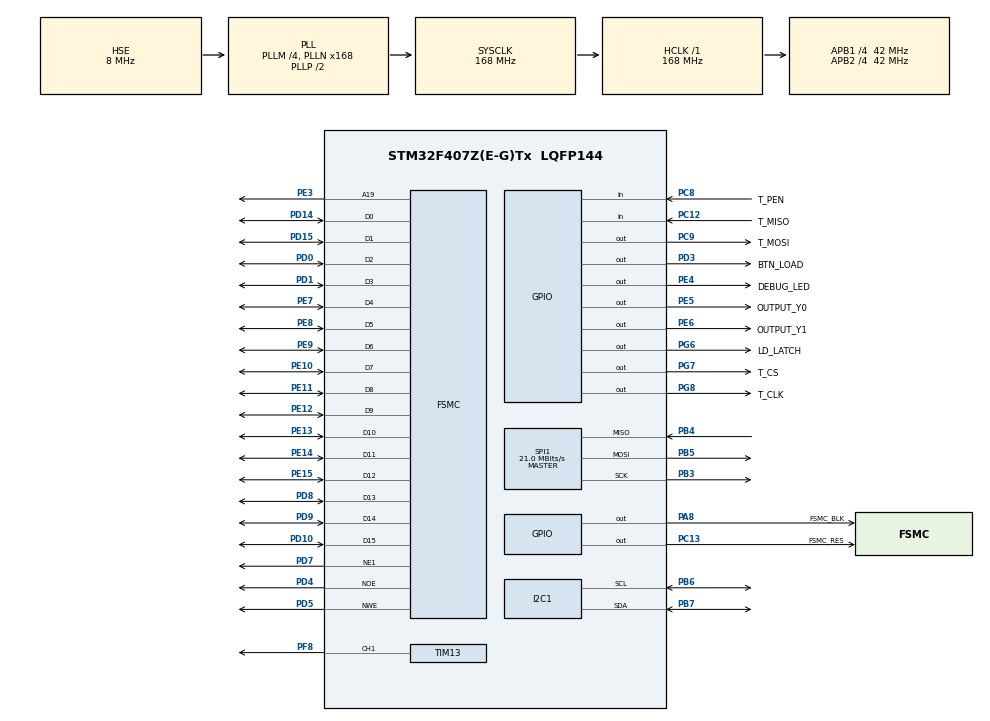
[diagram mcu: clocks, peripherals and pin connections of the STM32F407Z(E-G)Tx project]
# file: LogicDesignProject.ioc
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FSMC.AddressSetupTime1=0xf
FSMC.BusTurnAroundDuration1=0
FSMC.DataSetupTime1=60
FSMC.ExtendedAddressSetupTime1=9
FSMC.ExtendedBusTurnAroundDuration1=0
FSMC.ExtendedDataSetupTime1=8
FSMC.ExtendedMode1=FSMC_EXTENDED_MODE_ENABLE
Mcu.Family=STM32F4
Mcu.Name=STM32F407Z(E-G)Tx
Mcu.Package=LQFP144
NVIC.PriorityGroup=NVIC_PRIORITYGROUP_4
NVIC.TIM2_IRQn=true\:0\:0\:false\:false\:true\:true\:true\:true
NVIC.TIM4_IRQn=true\:0\:0\:false\:false\:true\:true\:true\:true
NVIC.TIM8_UP_TIM13_IRQn=true\:0\:0\:false\:false\:true\:true\:true\:true
PA13.Mode=Serial_Wire
PA13.Signal=SYS_JTMS-SWDIO
PA14.Mode=Serial_Wire
PA14.Signal=SYS_JTCK-SWCLK
PA8.GPIO_Label=FSMC_BLK
PA8.Signal=GPIO_Output
PB3.Mode=Full_Duplex_Master
PB3.Signal=SPI1_SCK
PB4.Mode=Full_Duplex_Master
PB4.Signal=SPI1_MISO
PB5.Mode=Full_Duplex_Master
PB5.Signal=SPI1_MOSI
PB6.Mode=I2C
PB6.Signal=I2C1_SCL
PB7.Mode=I2C
PB7.Signal=I2C1_SDA
PC12.GPIO_Label=T_MISO
PC12.GPIO_PuPd=GPIO_PULLUP
PC12.Signal=GPIO_Input
PC13-ANTI_TAMP.GPIO_Label=FSMC_RES
PC13-ANTI_TAMP.Signal=GPIO_Output
PC8.GPIO_Label=T_PEN
PC8.GPIO_PuPd=GPIO_PULLUP
PC8.Signal=GPIO_Input
PC9.GPIO_Label=T_MOSI
PC9.Signal=GPIO_Output
PD0.Signal=FSMC_D2_DA2
PD1.Signal=FSMC_D3_DA3
PD10.Signal=FSMC_D15_DA15
PD14.Signal=FSMC_D0_DA0
PD15.Signal=FSMC_D1_DA1
PD3.GPIO_Label=BTN_LOAD
PD3.Signal=GPIO_Output
PD4.Signal=FSMC_NOE
PD5.Signal=FSMC_NWE
PD7.Mode=NorPsramChipSelect1_1
PD7.Signal=FSMC_NE1
PD8.Signal=FSMC_D13_DA13
PD9.Signal=FSMC_D14_DA14
PE10.Signal=FSMC_D7_DA7
PE11.Signal=FSMC_D8_DA8
PE12.Signal=FSMC_D9_DA9
PE13.Signal=FSMC_D10_DA10
PE14.Signal=FSMC_D11_DA11
PE15.Signal=FSMC_D12_DA12
PE3.Signal=FSMC_A19
PE4.GPIO_Label=DEBUG_LED
PE4.Signal=GPIO_Output
PE5.GPIO_Label=OUTPUT_Y0
PE5.Signal=GPIO_Output
PE6.GPIO_Label=OUTPUT_Y1
PE6.Signal=GPIO_Output
PE7.Signal=FSMC_D4_DA4
PE8.Signal=FSMC_D5_DA5
PE9.Signal=FSMC_D6_DA6
PF8.Signal=S_TIM13_CH1
PG6.GPIO_Label=LD_LATCH
PG6.Signal=GPIO_Output
PG7.GPIO_Label=T_CS
PG7.Signal=GPIO_Output
PG8.GPIO_Label=T_CLK
PG8.Signal=GPIO_Output
PH0-OSC_IN.Mode=HSE-External-Oscillator
PH0-OSC_IN.Signal=RCC_OSC_IN
PH1-OSC_OUT.Mode=HSE-External-Oscillator
PH1-OSC_OUT.Signal=RCC_OSC_OUT
ProjectManager.HeapSize=0x200
ProjectManager.StackSize=0x400
ProjectManager.TargetToolchain=STM32CubeIDE
RCC.48MHZClocksFreq_Value=84000000
RCC.AHBFreq_Value=168000000
RCC.APB1CLKDivider=RCC_HCLK_DIV4
RCC.APB1Freq_Value=42000000
RCC.APB1TimFreq_Value=84000000
RCC.APB2CLKDivider=RCC_HCLK_DIV4
RCC.APB2Freq_Value=42000000
RCC.APB2TimFreq_Value=84000000
RCC.CortexFreq_Value=168000000
RCC.HCLKFreq_Value=168000000
RCC.HSE_VALUE=8000000
RCC.HSI_VALUE=16000000
RCC.LSE_VALUE=32768
RCC.PLLM=4
RCC.PLLN=168
RCC.PLLSourceVirtual=RCC_PLLSOURCE_HSE
RCC.SYSCLKFreq_VALUE=168000000
RCC.SYSCLKSource=RCC_SYSCLKSOURCE_PLLCLK
RCC.VCOOutputFreq_Value=336000000
SH.FSMC_A19.0=FSMC_A19,A19_1
SH.FSMC_D0_DA0.0=FSMC_D0,16b-d1
SH.FSMC_D10_DA10.0=FSMC_D10,16b-d1
SH.FSMC_D11_DA11.0=FSMC_D11,16b-d1
SH.FSMC_D12_DA12.0=FSMC_D12,16b-d1
SH.FSMC_D13_DA13.0=FSMC_D13,16b-d1
SH.FSMC_D14_DA14.0=FSMC_D14,16b-d1
SH.FSMC_D15_DA15.0=FSMC_D15,16b-d1
SH.FSMC_D1_DA1.0=FSMC_D1,16b-d1
SH.FSMC_D2_DA2.0=FSMC_D2,16b-d1
SH.FSMC_D3_DA3.0=FSMC_D3,16b-d1
SH.FSMC_D4_DA4.0=FSMC_D4,16b-d1
SH.FSMC_D5_DA5.0=FSMC_D5,16b-d1
SH.FSMC_D6_DA6.0=FSMC_D6,16b-d1
SH.FSMC_D7_DA7.0=FSMC_D7,16b-d1
SH.FSMC_D8_DA8.0=FSMC_D8,16b-d1
SH.FSMC_D9_DA9.0=FSMC_D9,16b-d1
SH.FSMC_NOE.0=FSMC_NOE,Lcd1
SH.FSMC_NWE.0=FSMC_NWE,Lcd1
SH.S_TIM13_CH1.0=TIM13_CH1,PWM Generation1 CH1
SPI1.CalculateBaudRate=21.0 MBits/s
SPI1.Direction=SPI_DIRECTION_2LINES
SPI1.Mode=SPI_MODE_MASTER
SPI1.VirtualType=VM_MASTER
TIM13.Channel=TIM_CHANNEL_1
TIM13.Period=100-1
TIM13.Prescaler=840-1
TIM2.Period=100-1
TIM2.Prescaler=840-1
TIM4.Period=100-1
TIM4.Prescaler=840-1
VP_TIM13_VS_ClockSourceINT.Mode=Enable_Timer
VP_TIM2_VS_ClockSourceINT.Mode=Internal
VP_TIM4_VS_ClockSourceINT.Mode=Internal
board=custom

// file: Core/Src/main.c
/* USER CODE BEGIN Header */
/**
  ******************************************************************************
  * @file           : main.c
  * @brief          : Main program body
  ******************************************************************************
  * @attention
  *
  * Copyright (c) 2025 STMicroelectronics.
  * All rights reserved.
  *
  * This software is licensed under terms that can be found in the LICENSE file
  * in the root directory of this software component.
  * If no LICENSE file comes with this software, it is provided AS-IS.
  *
  ******************************************************************************
  */
/* USER CODE END Header */
#include "main.h"
#include "i2c.h"
#include "spi.h"
#include "tim.h"
#include "gpio.h"
#include "fsmc.h"

/* USER CODE BEGIN Includes */
#include "global.h"
#include "software_timer.h"
#include "button.h"
#include "lcd.h"
#include "picture.h"
#include "electronic_lock.h"
#include "buzzer.h"
#include "touch.h"
/* USER CODE END Includes */

void SystemClock_Config(void);

/* USER CODE BEGIN 0 */
void init_system();
/* USER CODE END 0 */

int main(void)
{

  /* MCU Configuration--------------------------------------------------------*/

  /* Reset of all peripherals, Initializes the Flash interface and the Systick. */
  HAL_Init();

  /* Configure the system clock */
  SystemClock_Config();

  /* Initialize all configured peripherals */
  MX_GPIO_Init();
  MX_TIM2_Init();
  MX_SPI1_Init();
  MX_FSMC_Init();
  MX_TIM4_Init();
  MX_TIM13_Init();
  MX_I2C1_Init();
  /* USER CODE BEGIN 2 */
  init_system();

  setTimer(SYSTEM_TIMER, 1000);
  setTimer(LED_7SEG, 1000);
  /* USER CODE END 2 */

  /* Infinite loop */
  while (1)
  {
	  button_scan();
	  fsm_electronic_lock_run();
  }
}

void SystemClock_Config(void)
{
  RCC_OscInitTypeDef RCC_OscInitStruct = {0};
  RCC_ClkInitTypeDef RCC_ClkInitStruct = {0};

  /** Configure the main internal regulator output voltage
  */
  __HAL_RCC_PWR_CLK_ENABLE();
  __HAL_PWR_VOLTAGESCALING_CONFIG(PWR_REGULATOR_VOLTAGE_SCALE1);

  /** Initializes the RCC Oscillators according to the specified parameters
  * in the RCC_OscInitTypeDef structure.
  */
  RCC_OscInitStruct.OscillatorType = RCC_OSCILLATORTYPE_HSE;
  RCC_OscInitStruct.HSEState = RCC_HSE_ON;
  RCC_OscInitStruct.PLL.PLLState = RCC_PLL_ON;
  RCC_OscInitStruct.PLL.PLLSource = RCC_PLLSOURCE_HSE;
  RCC_OscInitStruct.PLL.PLLM = 4;
  RCC_OscInitStruct.PLL.PLLN = 168;
  RCC_OscInitStruct.PLL.PLLP = RCC_PLLP_DIV2;
  RCC_OscInitStruct.PLL.PLLQ = 4;
  if (HAL_RCC_OscConfig(&RCC_OscInitStruct) != HAL_OK)
  {
    Error_Handler();
  }

  /** Initializes the CPU, AHB and APB buses clocks
  */
  RCC_ClkInitStruct.ClockType = RCC_CLOCKTYPE_HCLK|RCC_CLOCKTYPE_SYSCLK
                              |RCC_CLOCKTYPE_PCLK1|RCC_CLOCKTYPE_PCLK2;
  RCC_ClkInitStruct.SYSCLKSource = RCC_SYSCLKSOURCE_PLLCLK;
  RCC_ClkInitStruct.AHBCLKDivider = RCC_SYSCLK_DIV1;
  RCC_ClkInitStruct.APB1CLKDivider = RCC_HCLK_DIV4;
  RCC_ClkInitStruct.APB2CLKDivider = RCC_HCLK_DIV4;

  if (HAL_RCC_ClockConfig(&RCC_ClkInitStruct, FLASH_LATENCY_5) != HAL_OK)
  {
    Error_Handler();
  }
}

/* USER CODE BEGIN 4 */
void init_system() {
	timer_init();
	button_init();
	lcd_init();
	touch_init();
	buzzer_init();
	lcd_clear(WHITE);
	led_7seg_init();
	for (int i = 0; i < 4; ++i) {
		entered_password[i] = 0;
		led_7seg_clear_pos(i);
	}
}

void HAL_TIM_PeriodElapsedCallback (TIM_HandleTypeDef *htim) {
	if (htim->Instance == TIM2) {
		timerRun();
	} else if (htim->Instance == TIM4) {
		led_7seg_display();
	}

}

/* USER CODE END 4 */

void Error_Handler(void)
{
  __disable_irq();
  while (1)
  {
  }
}
